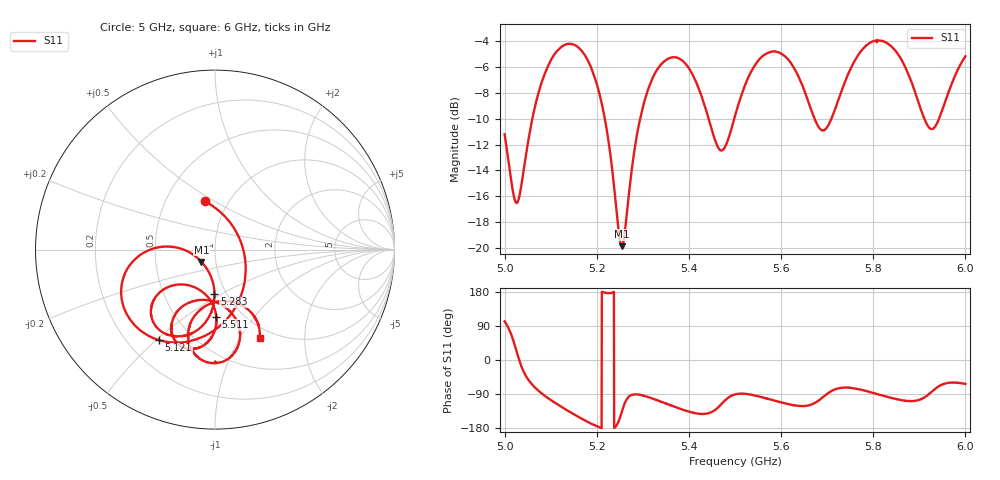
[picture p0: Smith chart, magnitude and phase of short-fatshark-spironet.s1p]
# HZ S RI R 50
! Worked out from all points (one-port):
!   2020 points, 5 GHz to 6 GHz, reference 50 ohm
!   lowest |S11| = -19.8 dB at 5.254 GHz (marker M1), VSWR 1.23, Z = 42.6 - j5.88 ohm
!   |S11| at or under -10 dB: start of sweep to 5.06 GHz; 5.217 GHz to 5.294 GHz (76.72 MHz wide, 1.46 % of centre); 5.443 GHz to 5.498 GHz (55.61 MHz wide, 1.02 % of centre) (the widest 3 of 5)
!   S11 on the Smith chart (normalised r, x): 5 GHz: 0.78, +0.45; 5.121 GHz: 0.33, -0.51; 5.283 GHz: 0.88, -0.47; 5.511 GHz: 0.76, -0.66; 6 GHz: 0.87, -1.22
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5e9  -0.0571 0.2693
5.019317e9  0.1036 0.1231
5.028232e9  0.1468 0.035
5.052501e9  0.1571 -0.2157
5.079742e9  0.0196 -0.4322
5.120852e9  -0.3128 -0.5043
5.12531e9  -0.3463 -0.4918
5.162952e9  -0.5199 -0.277
5.199109e9  -0.4331 -0.0433
5.224369e9  -0.2663 0.0164
5.250124e9  -0.096 -0.0481
5.254086e9  -0.0756 -0.0683
5.283309e9  -0.00281 -0.249
5.329866e9  -0.1312 -0.4665
5.375434e9  -0.3203 -0.4378
5.414562e9  -0.3412 -0.2811
5.466568e9  -0.1246 -0.2056
5.500248e9  -0.00422 -0.325
5.510649e9  0.00677 -0.3742
5.567608e9  -0.1114 -0.5515
5.625062e9  -0.245 -0.4428
5.690441e9  -0.0418 -0.2815
5.750372e9  0.1422 -0.469
5.813274e9  -0.0176 -0.6325
5.875186e9  -0.1482 -0.4502
5.928183e9  0.0376 -0.2862
5.96533e9  0.2036 -0.3541
6.000001e9  0.2489 -0.4906
